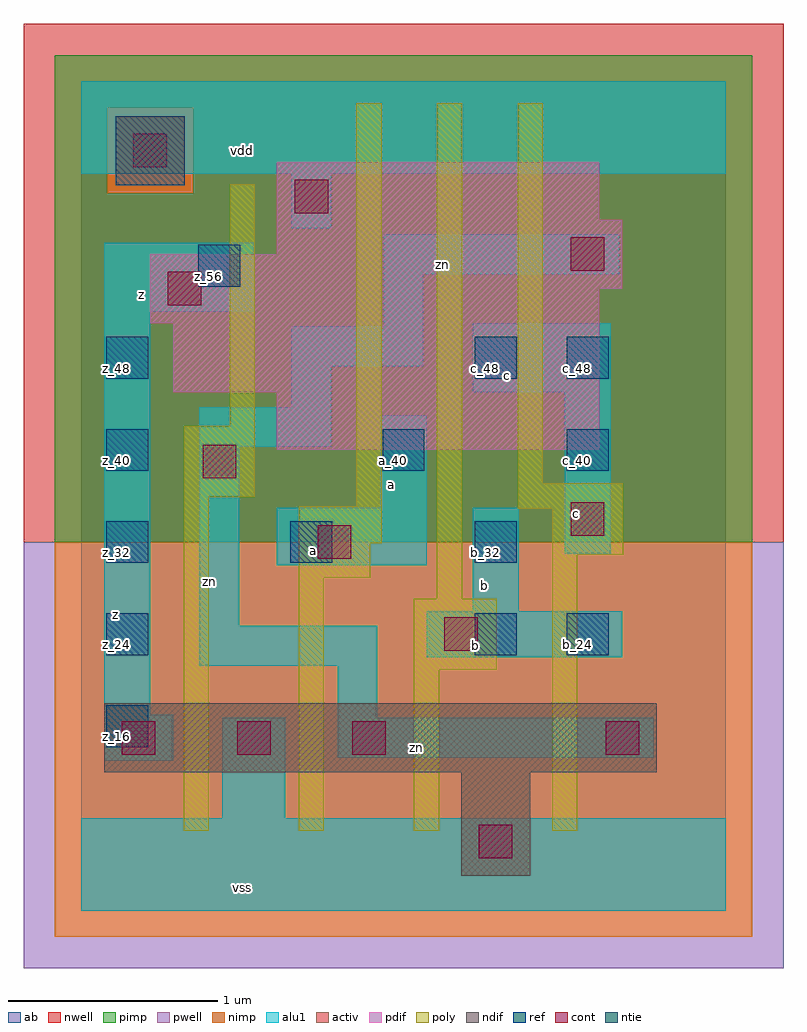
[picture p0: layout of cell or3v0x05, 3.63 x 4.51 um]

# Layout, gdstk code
import gdstk
lib = gdstk.Library(unit=1e-6, precision=2.5e-09)
def R(c, l, rs):  # rectangles x0, y0, x1, y1
    for r in rs: c.add(gdstk.rectangle(r[:2], r[2:], *l))
def A(c, l, x, y, w, h, nx, ny, dx, dy):  # array of equal rectangles
    R(c, l, [(x+i*dx, y+j*dy, x+i*dx+w, y+j*dy+h) for i in range(nx) for j in range(ny)])
ndif = (3, 0)
pdif = (4, 0)
ntie = (5, 0)
ref = (24, 0)
cont = (25, 0)
pwell = (41, 0)
nwell = (42, 0)
activ = (43, 0)
pimp = (44, 0)
nimp = (45, 0)
poly = (46, 0)
alu1 = (49, 0)
ab = (63, 0)

or3v0x05 = lib.new_cell('or3v0x05')
R(or3v0x05, ndif, [(1.815,0.165,2.145,0.66), (0.11,0.66,2.75,0.99)])
R(or3v0x05, pdif, [(0.935,2.2,2.475,2.475), (0.44,2.475,2.475,2.805), (0.33,2.805,2.475,2.97), (0.33,2.97,2.585,3.135), (0.935,3.135,2.585,3.3), (0.935,3.3,2.475,3.575)])
R(or3v0x05, ntie, [(0.165,3.465,0.495,3.795)])
A(or3v0x05, ref, 0.12, 1.66, 0.2, 0.2, 3, 1, 0.88, 0)
R(or3v0x05, ref, [(0.12,0.78,0.32,0.98), (0.12,1.22,0.32,1.42), (1.88,1.22,2.08,1.42), (2.32,1.22,2.52,1.42), (0.12,2.1,0.32,2.3), (1.44,2.1,1.64,2.3), (2.32,2.1,2.52,2.3), (0.12,2.54,0.32,2.74), (1.88,2.54,2.08,2.74), (2.32,2.54,2.52,2.74), (0.56,2.98,0.76,3.18)])
A(or3v0x05, cont, 0.195, 0.745, 0.16, 0.16, 3, 1, 0.55, 0)
R(or3v0x05, cont, [(1.9,0.25,2.06,0.41), (2.505,0.745,2.665,0.905), (1.735,1.24,1.895,1.4), (1.13,1.68,1.29,1.84), (2.34,1.79,2.5,1.95), (0.58,2.065,0.74,2.225), (0.415,2.89,0.575,3.05), (2.34,3.055,2.5,3.215), (1.02,3.33,1.18,3.49), (0.25,3.55,0.41,3.71)])
R(or3v0x05, pwell, [(-0.275,-0.275,3.355,1.76)])
R(or3v0x05, nwell, [(-0.275,1.76,3.355,4.235)])
R(or3v0x05, activ, [(1.815,0.165,2.145,0.66), (0.11,0.66,2.75,0.99), (0.935,2.2,2.475,2.475), (0.44,2.475,2.475,2.805), (0.33,2.805,2.475,2.97), (0.33,2.97,2.585,3.135), (0.935,3.135,2.585,3.3), (0.935,3.3,2.475,3.575), (0.165,3.465,0.495,3.795)])
R(or3v0x05, pimp, [(-0.125,1.76,3.205,3.425), (-0.125,3.425,0.125,3.835), (0.535,3.425,3.205,3.835), (-0.125,3.835,3.205,4.085)])
R(or3v0x05, nimp, [(-0.125,-0.125,3.205,1.76), (0.125,3.425,0.535,3.835)])
R(or3v0x05, poly, [(0.49,0.38,0.61,1.975), (1.04,0.38,1.16,1.59), (1.59,0.38,1.71,1.15), (2.25,0.38,2.37,1.7), (1.59,1.15,1.985,1.49), (1.7,1.49,1.82,3.855), (1.04,1.59,1.38,1.755), (2.25,1.7,2.59,1.92), (1.04,1.755,1.435,1.93), (2.085,1.92,2.59,2.04), (1.315,1.93,1.435,3.855), (0.49,1.975,0.83,2.315), (2.085,2.04,2.205,3.855), (0.71,2.315,0.83,3.47)])
R(or3v0x05, alu1, [(0,0,3.08,0.44), (0.675,0.44,0.975,0.92), (0.11,0.715,0.44,0.935), (1.225,0.73,2.735,0.92), (1.225,0.92,1.415,1.17), (0.11,0.935,0.33,2.86), (0.565,1.17,1.415,1.36), (1.65,1.21,2.585,1.43), (0.565,1.36,0.755,2.215), (1.87,1.43,2.09,1.925), (0.935,1.65,1.65,1.925), (2.31,1.705,2.53,2.475), (1.43,1.925,1.65,2.365), (0.565,2.215,1.195,2.405), (1.005,2.405,1.195,2.6), (1.87,2.475,2.53,2.805), (1.005,2.6,1.635,2.79), (1.445,2.79,1.635,3.04), (0.11,2.86,0.825,3.19), (1.445,3.04,2.57,3.23), (1.005,3.26,1.195,3.52), (0,3.52,3.08,3.96)])
R(or3v0x05, ab, [(0,0,3.08,3.96)])
or3v0x05.add(gdstk.Label('vss', (0.77,0.11), layer=49, texttype=0))
or3v0x05.add(gdstk.Label('zn', (1.6025,0.7775), layer=49, texttype=0))
or3v0x05.add(gdstk.Label('b', (1.8825,1.265), layer=49, texttype=0))
or3v0x05.add(gdstk.Label('c', (2.365,1.8975), layer=49, texttype=0))
or3v0x05.add(gdstk.Label('b', (1.925,1.5525), layer=49, texttype=0))
or3v0x05.add(gdstk.Label('a', (1.1125,1.7175), layer=49, texttype=0))
or3v0x05.add(gdstk.Label('a', (1.485,2.035), layer=49, texttype=0))
or3v0x05.add(gdstk.Label('zn', (0.6125,1.5725), layer=49, texttype=0))
or3v0x05.add(gdstk.Label('c', (2.035,2.5575), layer=49, texttype=0))
or3v0x05.add(gdstk.Label('z', (0.165,1.415), layer=49, texttype=0))
or3v0x05.add(gdstk.Label('zn', (1.725,3.0875), layer=49, texttype=0))
or3v0x05.add(gdstk.Label('z', (0.2875,2.9425), layer=49, texttype=0))
or3v0x05.add(gdstk.Label('vdd', (0.77,3.63), layer=49, texttype=0))
or3v0x05.add(gdstk.Label('z_56', (0.61,3.03), layer=24, texttype=0))
or3v0x05.add(gdstk.Label('a_32', (1.05,1.71), layer=24, texttype=0))
or3v0x05.add(gdstk.Label('a_40', (1.49,2.15), layer=24, texttype=0))
or3v0x05.add(gdstk.Label('b_24', (1.93,1.27), layer=24, texttype=0))
or3v0x05.add(gdstk.Label('b_32', (1.93,1.71), layer=24, texttype=0))
or3v0x05.add(gdstk.Label('c_48', (1.93,2.59), layer=24, texttype=0))
or3v0x05.add(gdstk.Label('z_16', (0.17,0.83), layer=24, texttype=0))
or3v0x05.add(gdstk.Label('z_24', (0.17,1.27), layer=24, texttype=0))
or3v0x05.add(gdstk.Label('z_32', (0.17,1.71), layer=24, texttype=0))
or3v0x05.add(gdstk.Label('z_40', (0.17,2.15), layer=24, texttype=0))
or3v0x05.add(gdstk.Label('z_48', (0.17,2.59), layer=24, texttype=0))
or3v0x05.add(gdstk.Label('b_24', (2.37,1.27), layer=24, texttype=0))
or3v0x05.add(gdstk.Label('c_40', (2.37,2.15), layer=24, texttype=0))
or3v0x05.add(gdstk.Label('c_48', (2.37,2.59), layer=24, texttype=0))

lib.write_gds('or3v0x05.gds')
